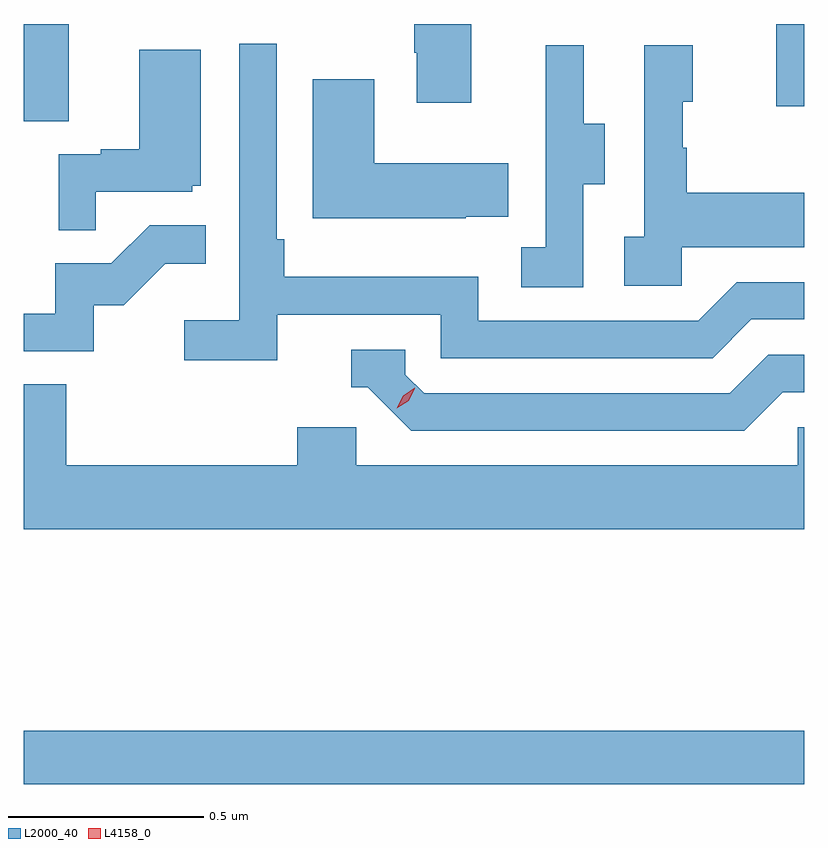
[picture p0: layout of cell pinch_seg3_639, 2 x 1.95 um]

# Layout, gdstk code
import gdstk
lib = gdstk.Library(unit=1e-6, precision=1e-09)
def R(c, l, rs):  # rectangles x0, y0, x1, y1
    for r in rs: c.add(gdstk.rectangle(r[:2], r[2:], *l))
def P(c, l, *ps):  # polygons
    for p in ps: c.add(gdstk.Polygon(p, *l))
L2000_40 = (2000, 40)
L4158_0 = (4158, 0)

pinch_seg3_639 = lib.new_cell('pinch_seg3_639')
R(pinch_seg3_639, L2000_40, [(1036.398,681.616,1038.398,681.752), (1036.398,683.314,1036.513,683.563), (1038.326,683.352,1038.398,683.563)])
P(pinch_seg3_639, L2000_40, [(1037.545,683.563),(1037.398,683.563),(1037.398,683.489),(1037.405,683.489),(1037.405,683.361),(1037.545,683.361)],
  [(1037.048,682.818),(1037.466,682.818),(1037.466,682.707),(1038.163,682.707),(1038.262,682.806),(1038.398,682.806),(1038.398,682.902),(1038.225,682.902),(1038.126,682.803),(1037.562,682.803),(1037.562,682.915),(1037.066,682.915),(1037.066,683.011),(1037.046,683.011),(1037.046,683.512),(1036.95,683.512),(1036.95,682.804),(1036.809,682.804),(1036.809,682.702),(1037.048,682.702)],
  [(1038.084,682.991),(1038.398,682.991),(1038.398,683.131),(1038.097,683.131),(1038.097,683.246),(1038.087,683.246),(1038.087,683.364),(1038.112,683.364),(1038.112,683.509),(1037.988,683.509),(1037.988,683.018),(1037.937,683.018),(1037.937,682.893),(1038.084,682.893)],
  [(1037.832,683.152),(1037.887,683.152),(1037.887,683.307),(1037.833,683.307),(1037.833,683.509),(1037.735,683.509),(1037.735,683.295),(1037.736,683.295),(1037.736,682.991),(1037.673,682.991),(1037.673,682.888),(1037.832,682.888)],
  [(1036.583,683.133),(1036.83,683.133),(1036.83,683.148),(1036.852,683.148),(1036.852,683.497),(1036.694,683.497),(1036.694,683.242),(1036.595,683.242),(1036.595,683.229),(1036.488,683.229),(1036.488,683.035),(1036.583,683.035)],
  [(1037.531,683.069),(1037.639,683.069),(1037.639,683.206),(1037.296,683.206),(1037.296,683.422),(1037.138,683.422),(1037.138,683.066),(1037.531,683.066)],
  [(1036.578,682.842),(1036.654,682.842),(1036.761,682.949),(1036.865,682.949),(1036.865,683.048),(1036.721,683.048),(1036.623,682.95),(1036.479,682.95),(1036.479,682.821),(1036.398,682.821),(1036.398,682.725),(1036.578,682.725)],
  [(1038.343,682.62),(1038.398,682.62),(1038.398,682.716),(1038.306,682.716),(1038.207,682.617),(1037.424,682.617),(1037.376,682.665),(1037.376,682.728),(1037.237,682.728),(1037.237,682.632),(1037.28,682.632),(1037.391,682.521),(1038.244,682.521)],
  [(1038.398,682.53),(1038.381,682.53),(1038.381,682.432),(1037.25,682.432),(1037.25,682.53),(1037.099,682.53),(1037.099,682.432),(1036.507,682.432),(1036.507,682.64),(1036.398,682.64),(1036.398,682.268),(1038.398,682.268)])
P(pinch_seg3_639, L4158_0, [(1037.354,682.578),(1037.354,682.578),(1037.37,682.611),(1037.4,682.631),(1037.4,682.631),(1037.4,682.63),(1037.385,682.598),(1037.354,682.578)])

lib.write_gds('pinch_seg3_639.gds')
